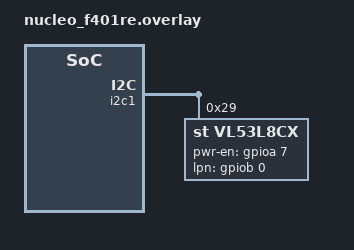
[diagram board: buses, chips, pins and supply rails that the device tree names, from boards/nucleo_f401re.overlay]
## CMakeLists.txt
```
cmake_minimum_required(VERSION 3.20.0)

find_package(Zephyr REQUIRED HINTS $ENV{ZEPHYR_BASE})
project(vl53l8cx_ranging_f401re)

target_sources(app PRIVATE src/main.c)
```

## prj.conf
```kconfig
# Application stack
CONFIG_MAIN_STACK_SIZE=4096

# Console and logging
CONFIG_SERIAL=y
CONFIG_CONSOLE=y
CONFIG_UART_CONSOLE=y
CONFIG_STDOUT_CONSOLE=y
CONFIG_PRINTK=y
CONFIG_LOG=y
CONFIG_LOG_DEFAULT_LEVEL=3
CONFIG_LOG_MODE_IMMEDIATE=y

# Peripherals
CONFIG_I2C=y
CONFIG_GPIO=y

# Sensor Subsystem & VL53L8CX Driver
CONFIG_SENSOR=y
CONFIG_ST_VL53L8CX=y

# Heap for WrMulti: largest single alloc is 32768+2 bytes (VL53L8CX firmware block)
CONFIG_HEAP_MEM_POOL_SIZE=40960

# Interrupt mode required for large (>255 byte) I2C writes to VL53L8CX command mailbox.
CONFIG_I2C_STM32_INTERRUPT=y

# At 400 kHz (Fast mode), uploading the 32 KB VL53L8CX firmware takes ~740 ms.
CONFIG_I2C_STM32_TRANSFER_TIMEOUT_MSEC=5000
```

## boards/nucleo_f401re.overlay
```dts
/* nucleo_f401re overlay for VL53L8A1 shield using st_vl53l8cx sensor driver */

&i2c1 {
	vl53l8cx: vl53l8cx@29 {
		compatible = "st,vl53l8cx";
		reg = <0x29>;
		pwr-en-gpios = <&gpioa 7 GPIO_ACTIVE_HIGH>;   /* Arduino D11 */
		lpn-gpios    = <&gpiob 0 GPIO_ACTIVE_HIGH>;   /* Arduino A3 */
		resolution = <64>;                           /* 64 for 8x8, 16 for 4x4 */
		ranging-frequency = <10>;                     /* 10 Hz */
	};
};

/* Disable SPI1 to free PA7 (Arduino D11 / PWR_EN = SPI1_MOSI) */
&spi1 {
	status = "disabled";
};
```

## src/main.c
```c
/*
 * STMicroelectronics VL53L8CX Multizone Ranging Application
 *
 * Target: STM32 Nucleo-F401RE with X-NUCLEO-53L8A1 Shield
 * Integrates with external Zephyr sensor driver module (modules/sensor/st_vl53l8cx).
 */

#include <stdio.h>
#include <zephyr/kernel.h>
#include <zephyr/device.h>
#include <zephyr/drivers/i2c.h>
#include <zephyr/drivers/gpio.h>
#include <zephyr/drivers/sensor.h>
#include <zephyr/drivers/sensor/vl53l8cx.h>

#define LED0_NODE DT_ALIAS(led0)
static const struct gpio_dt_spec led = GPIO_DT_SPEC_GET_OR(LED0_NODE, gpios, {0});

static void display_matrix_results(const struct vl53l8cx_ranging_data *data,
                                  const struct sensor_value *center_dist)
{
	uint8_t zones_per_side = (data->nb_zones == 64) ? 8 : 4;

	/* ANSI clear screen and home cursor */
	printf("\033[2J\033[H");
	printf("=================================================================\n");
	printf("    STMicroelectronics VL53L8CX 8x8 Multizone Ranging Demo      \n");
	printf("    Target: Nucleo-F401RE | Sensor Subsystem Driver Module      \n");
	printf("=================================================================\n\n");

	printf("Center Distance: %d.%03d m | Grid: %dx%d (%d zones)\n\n",
	       center_dist->val1, center_dist->val2 / 1000,
	       zones_per_side, zones_per_side, data->nb_zones);

	/* Top border */
	printf("+");
	for (int col = 0; col < zones_per_side; col++) {
		printf("---------+");
	}
	printf("\n");

	/* Display 2D Matrix (row by row, mirrored columns for natural POV) */
	for (int row = 0; row < zones_per_side; row++) {
		printf("|");
		for (int col = zones_per_side - 1; col >= 0; col--) {
			int zone = row * zones_per_side + col;
			int16_t dist = data->distance_mm[zone];

			if (data->nb_targets[zone] > 0 && dist > 0) {
				printf(" %4d mm |", dist);
			} else {
				printf("   ----  |");
			}
		}
		printf("\n");

		/* Status row */
		printf("|");
		for (int col = zones_per_side - 1; col >= 0; col--) {
			int zone = row * zones_per_side + col;
			if (data->nb_targets[zone] > 0) {
				printf("  [st:%2d] |", data->target_status[zone]);
			} else {
				printf("  [none] |");
			}
		}
		printf("\n+");
		for (int col = 0; col < zones_per_side; col++) {
			printf("---------+");
		}
		printf("\n");
	}

	printf("\nSampling active... (Press reset on Nucleo to restart)\n");
	fflush(stdout);
}

static void scan_i2c_bus(const struct device *i2c_dev)
{
	if (!device_is_ready(i2c_dev)) {
		printf("[i2c_scan] ERROR: I2C bus device not ready\n");
		return;
	}

	printf("[i2c_scan] Scanning I2C bus %s...\n", i2c_dev->name);
	bool found = false;
	for (uint8_t addr = 0x08; addr <= 0x77; addr++) {
		uint8_t dummy = 0;
		if (i2c_write(i2c_dev, &dummy, 0, addr) == 0) {
			printf("[i2c_scan]   -> ACK at address 0x%02x\n", addr);
			found = true;
		}
	}
	if (!found) {
		printf("[i2c_scan]   -> No devices answered (Check J9 jumper on shield: must be [2-3] for I2C)\n");
	}
	fflush(stdout);
}

int main(void)
{
	struct sensor_value center_dist;
	struct vl53l8cx_ranging_data matrix_data;
	int ret;

	if (gpio_is_ready_dt(&led)) {
		gpio_pin_configure_dt(&led, GPIO_OUTPUT_ACTIVE);
	}

	printf("\n\n==================================================\n");
	printf("*** STM32F401RE VL53L8CX Sensor Application ***\n");
	printf("==================================================\n");
	fflush(stdout);

	const struct device *const dev = DEVICE_DT_GET_ANY(st_vl53l8cx);
	const struct device *const i2c1_dev = DEVICE_DT_GET(DT_NODELABEL(i2c1));

	if (!dev) {
		printf("FATAL: No st,vl53l8cx device in devicetree!\n");
		while (1) {
			if (gpio_is_ready_dt(&led)) { gpio_pin_toggle_dt(&led); }
			k_msleep(200);
		}
	}

	while (!device_is_ready(dev)) {
		printf("\n[app] Device '%s' not ready (init failed during boot).\n", dev->name);
		scan_i2c_bus(i2c1_dev);
		printf("[app] Retrying in 2 seconds... (Press reset on board once shield jumper is verified)\n");
		fflush(stdout);

		if (gpio_is_ready_dt(&led)) { gpio_pin_toggle_dt(&led); }
		k_msleep(2000);
	}

	printf("\nSUCCESS: Found ready VL53L8CX sensor: %s\n", dev->name);
	fflush(stdout);

	while (1) {
		/* Fetch latest ranging sample from sensor DSP */
		ret = sensor_sample_fetch(dev);
		if (ret == 0) {
			if (gpio_is_ready_dt(&led)) { gpio_pin_toggle_dt(&led); }

			/* Read standard center distance */
			sensor_channel_get(dev, SENSOR_CHAN_DISTANCE, &center_dist);

			/* Read full multizone 8x8 depth matrix */
			sensor_channel_get(dev, (enum sensor_channel)SENSOR_CHAN_VL53L8CX_DISTANCE_MATRIX,
			                   (struct sensor_value *)&matrix_data);

			/* Render visual terminal grid */
			display_matrix_results(&matrix_data, &center_dist);
		} else if (ret == -EBUSY) {
			/* Data not ready yet */
		} else {
			printf("WARN: sensor_sample_fetch error %d\n", ret);
			fflush(stdout);
		}

		k_msleep(100);
	}

	return 0;
}
```
